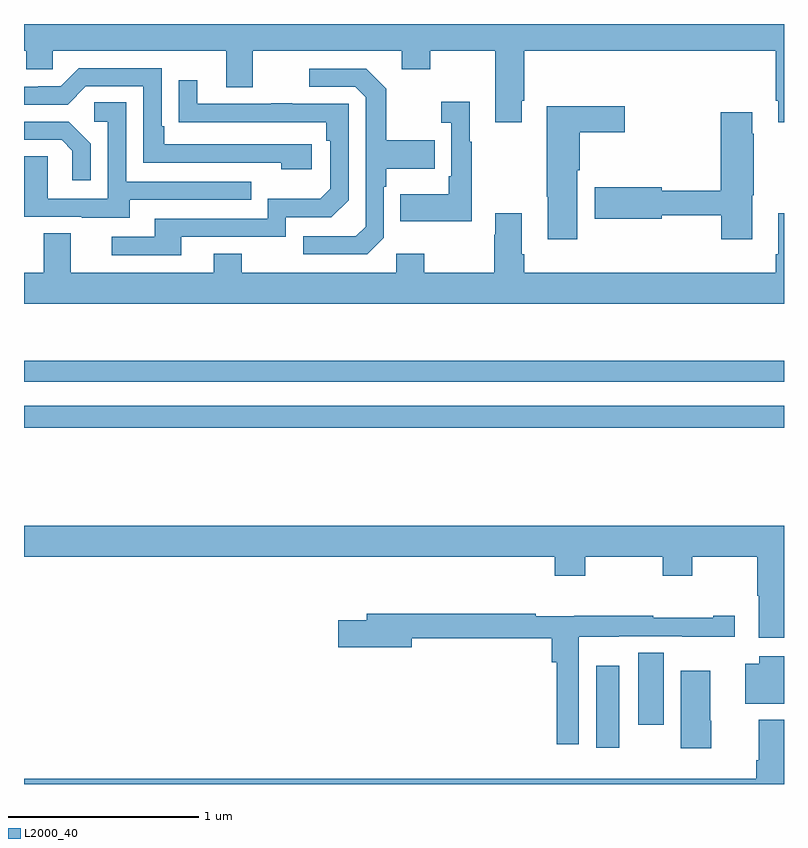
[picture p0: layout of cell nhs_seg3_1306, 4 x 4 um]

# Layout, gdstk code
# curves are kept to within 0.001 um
import gdstk
lib = gdstk.Library(unit=1e-6, precision=1e-09)
def R(c, l, rs):  # rectangles x0, y0, x1, y1
    for r in rs: c.add(gdstk.rectangle(r[:2], r[2:], *l))
def P(c, l, *ps):  # polygons
    for p in ps: c.add(gdstk.Polygon(p, *l))
L2000_40 = (2000, 40)

nhs_seg3_1306 = lib.new_cell('nhs_seg3_1306')
R(nhs_seg3_1306, L2000_40, [(182.012,686.592,182.134,687.022), (182.234,686.712,182.368,687.092), (179,688.276,183,688.392), (179,688.518,183,688.627)])
P(nhs_seg3_1306, L2000_40, [(181.621,689.995),(181.634,689.995),(181.634,690.26),(182.957,690.26),(182.957,689.995),(182.969,689.995),(182.969,689.883),(183,689.883),(183,690.4),(179,690.4),(179,690.26),(179.013,690.26),(179.013,690.162),(179.151,690.162),(179.151,690.26),(180.065,690.26),(180.065,690.066),(180.205,690.066),(180.205,690.26),(180.989,690.26),(180.989,690.161),(181.137,690.161),(181.137,690.26),(181.481,690.26),(181.481,689.883),(181.621,689.883)],
  [(180.514,689.766),(179.737,689.766),(179.737,689.863),(179.724,689.863),(179.724,690.168),(179.289,690.168),(179.193,690.072),(179.075,690.072),(179.075,690.069),(179,690.069),(179,689.976),(179.229,689.976),(179.325,690.072),(179.628,690.072),(179.628,689.67),(180.353,689.67),(180.353,689.636),(180.514,689.636)],
  [(180.894,689.274),(180.894,689.543),(180.907,689.543),(180.907,689.639),(181.163,689.639),(181.163,689.787),(180.907,689.787),(180.907,690.059),(180.801,690.165),(180.501,690.165),(180.501,690.069),(180.744,690.069),(180.798,690.015),(180.798,689.334),(180.747,689.283),(180.471,689.283),(180.471,689.187),(180.807,689.187)],
  [(179.827,689.28),(180.378,689.28),(180.378,689.382),(180.618,689.382),(180.708,689.472),(180.708,689.979),(180.413,689.979),(180.413,689.984),(180.301,689.984),(180.301,689.979),(179.911,689.979),(179.911,690.103),(179.815,690.103),(179.815,689.884),(180.592,689.883),(180.592,689.786),(180.612,689.786),(180.612,689.532),(180.559,689.479),(180.282,689.479),(180.282,689.376),(179.687,689.376),(179.687,689.28),(179.463,689.28),(179.463,689.184),(179.827,689.184)],
  [(181.357,689.779),(181.345,689.779),(181.345,689.992),(181.197,689.992),(181.197,689.879),(181.248,689.879),(181.248,689.599),(181.236,689.599),(181.236,689.503),(180.979,689.503),(180.979,689.363),(181.357,689.363)],
  [(179.557,689.475),(180.197,689.475),(180.197,689.571),(179.538,689.571),(179.538,689.987),(179.37,689.987),(179.37,689.886),(179.442,689.886),(179.442,689.481),(179.124,689.481),(179.124,689.705),(179,689.705),(179,689.385),(179.303,689.385),(179.303,689.381),(179.557,689.381)],
  [(181.912,689.629),(181.925,689.629),(181.925,689.83),(182.161,689.83),(182.161,689.967),(181.75,689.967),(181.75,689.491),(181.757,689.491),(181.757,689.268),(181.912,689.268)],
  [(182.833,689.499),(182.841,689.499),(182.841,689.822),(182.833,689.822),(182.833,689.935),(182.666,689.935),(182.666,689.522),(182.356,689.522),(182.356,689.541),(182.004,689.541),(182.004,689.375),(182.356,689.375),(182.356,689.394),(182.671,689.394),(182.671,689.268),(182.833,689.268)],
  [(179.352,689.77),(179.236,689.886),(179,689.886),(179,689.79),(179.198,689.79),(179.255,689.733),(179.255,689.577),(179.352,689.577)],
  [(183,689.404),(182.969,689.404),(182.969,689.188),(182.957,689.188),(182.957,689.092),(181.634,689.092),(181.634,689.188),(181.621,689.188),(181.621,689.404),(181.481,689.404),(181.481,689.291),(181.474,689.291),(181.474,689.092),(181.107,689.092),(181.107,689.191),(180.96,689.191),(180.96,689.092),(180.147,689.092),(180.147,689.191),(179.999,689.191),(179.999,689.092),(179.245,689.092),(179.245,689.3),(179.105,689.3),(179.105,689.092),(179,689.092),(179,688.928),(183,688.928)],
  [(183,687.76),(179,687.76),(179,687.596),(181.793,687.596),(181.793,687.497),(181.953,687.497),(181.953,687.596),(182.362,687.596),(182.362,687.497),(182.517,687.497),(182.517,687.596),(182.86,687.596),(182.86,687.392),(182.867,687.392),(182.867,687.171),(183,687.171)],
  [(181.92,687.176),(182.13,687.176),(182.13,687.177),(182.464,687.177),(182.464,687.176),(182.74,687.176),(182.74,687.286),(182.627,687.286),(182.627,687.276),(182.312,687.276),(182.312,687.286),(181.896,687.286),(181.896,687.284),(181.694,687.284),(181.694,687.295),(180.803,687.295),(180.803,687.261),(180.654,687.261),(180.654,687.119),(181.042,687.119),(181.042,687.166),(181.778,687.166),(181.778,687.041),(181.804,687.041),(181.804,686.61),(181.92,686.61)],
  [(183,687.073),(182.87,687.073),(182.87,687.034),(182.795,687.034),(182.795,686.822),(183,686.822)],
  [(182.617,686.733),(182.611,686.733),(182.611,686.995),(182.456,686.995),(182.456,686.589),(182.617,686.589)],
  [(183,686.737),(182.867,686.737),(182.867,686.524),(182.855,686.524),(182.855,686.428),(179,686.428),(179,686.4),(183,686.4)])

lib.write_gds('nhs_seg3_1306.gds')
